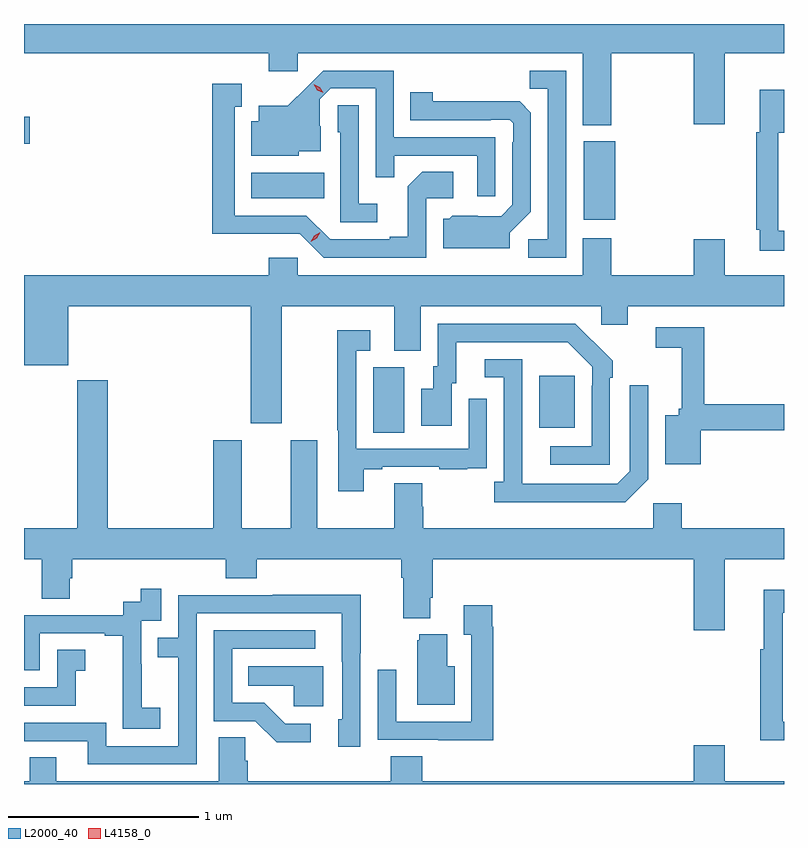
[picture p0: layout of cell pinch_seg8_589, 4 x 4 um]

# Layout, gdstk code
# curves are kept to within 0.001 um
import gdstk
lib = gdstk.Library(unit=1e-6, precision=1e-09)
def R(c, l, rs):  # rectangles x0, y0, x1, y1
    for r in rs: c.add(gdstk.rectangle(r[:2], r[2:], *l))
def P(c, l, *ps):  # polygons
    for p in ps: c.add(gdstk.Polygon(p, *l))
L2000_40 = (2000, 40)
L4158_0 = (4158, 0)

pinch_seg8_589 = lib.new_cell('pinch_seg8_589')
R(pinch_seg8_589, L2000_40, [(127.358,1101.184,127.522,1101.528), (128.231,1101.209,128.419,1101.484), (128.465,1102.305,128.632,1102.717), (126.716,1102.418,127.1,1102.552), (125.52,1102.703,125.551,1102.845)])
P(pinch_seg8_589, L2000_40, [(128.61,1103.18),(129.044,1103.18),(129.044,1102.806),(129.208,1102.806),(129.208,1103.18),(129.52,1103.18),(129.52,1103.334),(125.52,1103.334),(125.52,1103.18),(126.809,1103.18),(126.809,1103.085),(126.96,1103.085),(126.96,1103.18),(128.462,1103.18),(128.462,1102.802),(128.61,1102.802)],
  [(128.373,1103.088),(128.182,1103.088),(128.182,1102.993),(128.277,1102.993),(128.277,1102.2),(128.175,1102.2),(128.175,1102.104),(128.373,1102.104)],
  [(128.001,1102.737),(127.467,1102.737),(127.467,1103.088),(127.094,1103.088),(126.907,1102.903),(126.755,1102.903),(126.755,1102.822),(126.716,1102.822),(126.716,1102.64),(126.966,1102.64),(126.966,1102.664),(127.081,1102.664),(127.081,1102.796),(127.077,1102.796),(127.077,1102.938),(127.134,1102.995),(127.371,1102.995),(127.371,1102.528),(127.469,1102.528),(127.469,1102.641),(127.905,1102.641),(127.905,1102.428),(128.001,1102.428)],
  [(127.638,1102.416),(127.78,1102.416),(127.78,1102.556),(127.615,1102.556),(127.539,1102.48),(127.539,1102.213),(127.445,1102.213),(127.445,1102.2),(127.131,1102.2),(127.005,1102.326),(126.628,1102.326),(126.628,1102.899),(126.667,1102.899),(126.667,1103.02),(126.51,1103.02),(126.51,1102.229),(126.972,1102.23),(127.098,1102.104),(127.638,1102.104)],
  [(129.52,1102.245),(129.489,1102.245),(129.489,1102.761),(129.52,1102.761),(129.52,1102.987),(129.392,1102.987),(129.392,1102.764),(129.373,1102.764),(129.373,1102.252),(129.392,1102.252),(129.392,1102.14),(129.52,1102.14)],
  [(128.077,1102.236),(128.187,1102.346),(128.187,1102.868),(128.128,1102.927),(127.671,1102.928),(127.671,1102.975),(127.552,1102.975),(127.552,1102.827),(127.976,1102.827),(127.976,1102.83),(128.076,1102.83),(128.094,1102.812),(128.094,1102.712),(128.091,1102.712),(128.091,1102.383),(128.031,1102.323),(127.774,1102.324),(127.758,1102.308),(127.727,1102.308),(127.727,1102.154),(128.077,1102.154)],
  [(127.378,1102.387),(127.281,1102.387),(127.281,1102.907),(127.17,1102.907),(127.17,1102.764),(127.185,1102.764),(127.185,1102.29),(127.378,1102.29)],
  [(126.877,1101.848),(127.469,1101.848),(127.469,1101.613),(127.609,1101.613),(127.609,1101.848),(128.559,1101.848),(128.559,1101.75),(128.698,1101.75),(128.698,1101.848),(129.52,1101.848),(129.52,1102.012),(129.208,1102.012),(129.208,1102.201),(129.044,1102.201),(129.044,1102.012),(128.61,1102.012),(128.61,1102.207),(128.462,1102.207),(128.462,1102.012),(126.96,1102.012),(126.96,1102.105),(126.809,1102.105),(126.809,1102.012),(125.52,1102.012),(125.52,1101.539),(125.752,1101.539),(125.752,1101.848),(126.713,1101.848),(126.713,1101.234),(126.877,1101.234)],
  [(128.604,1101.473),(128.619,1101.473),(128.619,1101.561),(128.422,1101.756),(127.698,1101.756),(127.698,1101.534),(127.673,1101.534),(127.673,1101.415),(127.61,1101.415),(127.61,1101.219),(127.771,1101.219),(127.771,1101.444),(127.795,1101.444),(127.795,1101.66),(128.383,1101.66),(128.511,1101.531),(128.511,1101.431),(128.508,1101.431),(128.508,1101.111),(128.289,1101.111),(128.289,1101.015),(128.604,1101.015)],
  [(129.082,1101.196),(129.52,1101.196),(129.52,1101.332),(129.101,1101.332),(129.101,1101.738),(128.844,1101.738),(128.844,1101.63),(128.983,1101.63),(128.983,1101.309),(128.966,1101.309),(128.966,1101.274),(128.894,1101.274),(128.894,1101.017),(129.082,1101.017)],
  [(127.309,1100.991),(127.405,1100.991),(127.405,1101.003),(127.705,1101.003),(127.705,1100.991),(127.853,1100.991),(127.853,1100.997),(127.955,1100.997),(127.955,1101.106),(127.956,1101.106),(127.956,1101.361),(127.86,1101.361),(127.86,1101.099),(127.269,1101.099),(127.269,1101.615),(127.342,1101.615),(127.342,1101.721),(127.168,1101.721),(127.168,1101.196),(127.173,1101.196),(127.173,1100.874),(127.309,1100.874)],
  [(128.805,1100.937),(128.805,1101.433),(128.709,1101.433),(128.709,1100.979),(128.643,1100.913),(128.143,1100.913),(128.142,1101.57),(127.944,1101.57),(127.944,1101.474),(128.046,1101.474),(128.046,1100.926),(127.995,1100.926),(127.995,1100.816),(128.684,1100.816)],
  [(129.208,1100.516),(129.52,1100.516),(129.52,1100.68),(128.983,1100.68),(128.983,1100.812),(128.832,1100.812),(128.832,1100.68),(127.622,1100.68),(127.622,1100.793),(127.617,1100.793),(127.617,1100.918),(127.469,1100.918),(127.469,1100.68),(127.063,1100.68),(127.063,1101.142),(126.923,1101.142),(126.923,1100.68),(126.667,1100.68),(126.667,1101.142),(126.515,1101.142),(126.515,1100.68),(125.96,1100.68),(125.96,1101.46),(125.8,1101.46),(125.8,1100.68),(125.52,1100.68),(125.52,1100.516),(125.614,1100.516),(125.614,1100.308),(125.761,1100.308),(125.761,1100.418),(125.774,1100.418),(125.774,1100.516),(126.581,1100.516),(126.581,1100.417),(126.746,1100.417),(126.746,1100.516),(127.505,1100.516),(127.505,1100.42),(127.517,1100.42),(127.517,1100.207),(127.657,1100.207),(127.657,1100.314),(127.67,1100.314),(127.67,1100.516),(129.044,1100.516),(129.044,1100.142),(129.208,1100.142)],
  [(126.238,1099.735),(126.14,1099.735),(126.14,1099.964),(126.138,1099.964),(126.138,1100.193),(126.243,1100.193),(126.243,1100.362),(126.135,1100.362),(126.135,1100.292),(126.042,1100.292),(126.042,1100.223),(125.52,1100.223),(125.52,1099.932),(125.604,1099.932),(125.604,1100.127),(125.945,1100.127),(125.945,1100.115),(126.041,1100.115),(126.041,1099.831),(126.04,1099.831),(126.04,1099.625),(126.238,1099.625)],
  [(129.52,1099.662),(129.514,1099.662),(129.514,1100.235),(129.52,1100.235),(129.52,1100.356),(129.413,1100.356),(129.413,1100.043),(129.396,1100.043),(129.396,1099.565),(129.52,1099.565)],
  [(126.429,1100.232),(127.193,1100.232),(127.193,1099.978),(127.194,1099.978),(127.194,1099.674),(127.175,1099.674),(127.175,1099.53),(127.29,1099.53),(127.29,1100.023),(127.293,1100.023),(127.293,1100.33),(126.829,1100.33),(126.829,1100.328),(126.333,1100.328),(126.333,1100.103),(126.223,1100.103),(126.223,1100.002),(126.333,1100.002),(126.333,1099.533),(125.952,1099.533),(125.952,1099.656),(125.52,1099.656),(125.52,1099.56),(125.855,1099.56),(125.855,1099.437),(126.429,1099.437)],
  [(127.991,1100.162),(127.984,1100.162),(127.984,1100.275),(127.835,1100.275),(127.835,1100.119),(127.875,1100.119),(127.875,1099.662),(127.479,1099.662),(127.479,1099.936),(127.383,1099.936),(127.383,1099.566),(127.699,1099.566),(127.699,1099.565),(127.991,1099.565)],
  [(127.03,1099.65),(126.895,1099.65),(126.784,1099.761),(126.615,1099.761),(126.615,1100.046),(127.054,1100.046),(127.054,1100.142),(126.519,1100.142),(126.519,1099.665),(126.738,1099.665),(126.851,1099.553),(127.03,1099.553)],
  [(127.786,1099.954),(127.747,1099.954),(127.747,1100.122),(127.601,1100.122),(127.601,1100.091),(127.589,1100.091),(127.589,1099.751),(127.786,1099.751)],
  [(125.793,1099.931),(125.842,1099.931),(125.842,1100.041),(125.694,1100.041),(125.694,1099.842),(125.52,1099.842),(125.52,1099.746),(125.793,1099.746)],
  [(127.096,1099.954),(126.7,1099.954),(126.7,1099.85),(126.939,1099.85),(126.939,1099.742),(127.096,1099.742)],
  [(129.52,1099.348),(129.208,1099.348),(129.208,1099.537),(129.044,1099.537),(129.044,1099.348),(127.616,1099.348),(127.616,1099.481),(127.451,1099.481),(127.451,1099.348),(126.698,1099.348),(126.698,1099.457),(126.684,1099.457),(126.684,1099.58),(126.545,1099.58),(126.545,1099.348),(125.689,1099.348),(125.689,1099.475),(125.55,1099.475),(125.55,1099.348),(125.52,1099.348),(125.52,1099.334),(129.52,1099.334)])
P(pinch_seg8_589, L4158_0, [(127.094,1102.971),(127.063,1102.986),(127.046,1103.016),(127.046,1103.016),(127.046,1103.016),(127.077,1103.001),(127.094,1102.972),(127.094,1102.971)],
  [(127.03,1102.187),(127.03,1102.187),(127.047,1102.22),(127.079,1102.239),(127.079,1102.239),(127.079,1102.239),(127.061,1102.206),(127.03,1102.187)])

lib.write_gds('pinch_seg8_589.gds')
